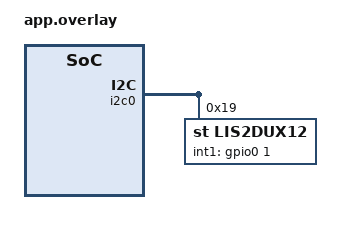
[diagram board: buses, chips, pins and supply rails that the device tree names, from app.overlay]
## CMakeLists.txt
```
# Copyright The Zephyr Project Contributors
# SPDX-License-Identifier: Apache-2.0

cmake_minimum_required(VERSION 3.28.0)
find_package(Zephyr REQUIRED HINTS $ENV{ZEPHYR_BASE})
project(lis2dux12)

target_include_directories(app PRIVATE
  ${ZEPHYR_BASE}/drivers/sensor/st/lis2dux12
  ${ZEPHYR_BASE}/drivers/sensor/st/stmemsc
)
target_sources(app PRIVATE src/main.c)
```

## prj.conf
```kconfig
# Copyright The Zephyr Project Contributors
# SPDX-License-Identifier: Apache-2.0

# The device is not backed by an emulator: only its decoder is tested
CONFIG_ZTEST=y
CONFIG_SENSOR=y
CONFIG_SENSOR_ASYNC_API=y
CONFIG_EMUL=y
```

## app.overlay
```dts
/*
 * Copyright The Zephyr Project Contributors
 *
 * SPDX-License-Identifier: Apache-2.0
 */

#include <zephyr/dt-bindings/gpio/gpio.h>
#include <zephyr/dt-bindings/sensor/lis2dux12.h>

&i2c0 {
	lis2dux12: lis2dux12@19 {
		compatible = "st,lis2dux12";
		reg = <0x19>;
		int1-gpios = <&gpio0 1 GPIO_ACTIVE_HIGH>;
		range = <LIS2DUX12_DT_FS_4G>;
		odr = <LIS2DUX12_DT_ODR_100Hz>;
		power-mode = <LIS2DUX12_OPER_MODE_LOW_POWER>;
	};
};
```

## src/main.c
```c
/*
 * Copyright The Zephyr Project Contributors
 *
 * SPDX-License-Identifier: Apache-2.0
 */

#include <zephyr/drivers/sensor.h>
#include <zephyr/dt-bindings/sensor/lis2dux12.h>
#include <zephyr/sys/byteorder.h>
#include <zephyr/ztest.h>

#include "lis2dux12.h"
#include "lis2dux12_decoder.h"

/* Sensitivity at +/-2 g in micro-g per LSB of a 16-bit sample, doubling with the range */
#define UG_PER_LSB_2G 61

/* Temperature sensitivity in LSB per degree Celsius, times 10 */
#define TEMP_LSB_PER_10C 3555

/* Allowed error of a decoded temperature, in micro-degrees Celsius */
#define TOLERANCE_UC 100

#define LAST_TS_NS   1000000000000ULL
#define MAX_READINGS 128

static const struct sensor_decoder_api *decoder = SENSOR_DECODER_DT_GET(DT_NODELABEL(lis2dux12));

static const struct sensor_chan_spec chan_xyz = {SENSOR_CHAN_ACCEL_XYZ, 0};
static const struct sensor_chan_spec chan_temp = {SENSOR_CHAN_DIE_TEMP, 0};

static const struct sensor_chan_spec accel_chans[] = {
	{SENSOR_CHAN_ACCEL_X, 0},
	{SENSOR_CHAN_ACCEL_Y, 0},
	{SENSOR_CHAN_ACCEL_Z, 0},
	{SENSOR_CHAN_ACCEL_XYZ, 0},
};

static const int8_t range_shift[] = {5, 6, 7, 8};

/* Raw values of one reading: accelerometer axes left-justified to 16 bits, or temperature */
struct raw_reading {
	int16_t v[3];
};

static struct {
	struct sensor_three_axis_data data;
	struct sensor_three_axis_sample_data extra[MAX_READINGS - 1];
} out3;

static struct {
	struct sensor_q31_data data;
	struct sensor_q31_sample_data extra[MAX_READINGS - 1];
} out1;

static struct {
	struct lis2dux12_fifo_data hdr;
	uint8_t words[MAX_READINGS][LIS2DUX12_FIFO_ITEM_LEN];
} __packed fifo;

static const uint8_t *const fifo_buf = (const uint8_t *)&fifo;

static int64_t q31_to_micro(q31_t value, int8_t shift)
{
	return ((int64_t)value * 1000000) >> (31 - shift);
}

static void check_accel(q31_t value, int8_t shift, int16_t raw, uint8_t range)
{
	int64_t expected = (int64_t)raw * UG_PER_LSB_2G * (1 << range) * SENSOR_G / 1000000;
	int64_t actual = q31_to_micro(value, shift);
	/* 0.01 % of the value, in micro-m/s^2 */
	int64_t tolerance = ((expected < 0) ? -expected : expected) / 10000 + 10;

	zassert_within(actual, expected, tolerance, "raw %d: got %lld, expected %lld", raw, actual,
		       expected);
}

static void check_temp(q31_t value, int8_t shift, int16_t raw)
{
	int64_t expected = 25000000 + (int64_t)raw * 10000000 / TEMP_LSB_PER_10C;
	int64_t actual = q31_to_micro(value, shift);

	zassert_within(actual, expected, TOLERANCE_UC, "raw %d: got %lld, expected %lld", raw,
		       actual, expected);
}

static void check_unsupported(const uint8_t *buffer, struct sensor_chan_spec chan)
{
	size_t base_size;
	size_t frame_size;
	uint16_t frame_count;
	uint32_t fit = 0;

	zassert_equal(decoder->get_size_info(chan, &base_size, &frame_size), -ENOTSUP);
	zassert_equal(decoder->get_frame_count(buffer, chan, &frame_count), -ENOTSUP);
	zassert_equal(decoder->decode(buffer, chan, &fit, 1, &out3), -ENOTSUP);
}

/*
 * Decode all accelerometer readings of a buffer with batches of max_count readings, and check
 * their values and absolute timestamps.
 */
static void check_accel_readings(const uint8_t *buffer, struct sensor_chan_spec chan,
				 uint16_t max_count, const struct raw_reading *raw, int num,
				 uint8_t range, uint64_t last_ts, uint64_t period)
{
	uint16_t frame_count;
	uint32_t fit = 0;
	int decoded = 0;
	int rc;

	zassert_ok(decoder->get_frame_count(buffer, chan, &frame_count));
	zassert_equal(frame_count, num);

	while (decoded < num) {
		rc = decoder->decode(buffer, chan, &fit, max_count, &out3);
		zassert_true(rc > 0 && rc <= max_count, "decode returned %d", rc);
		zassert_equal(out3.data.header.reading_count, rc);
		zassert_equal(out3.data.shift, range_shift[range]);

		for (int i = 0; i < rc; i++) {
			const struct sensor_three_axis_sample_data *r = &out3.data.readings[i];
			int n = decoded + i;

			zassert_equal(out3.data.header.base_timestamp_ns + r->timestamp_delta,
				      last_ts - (uint64_t)(num - 1 - n) * period, "reading %d", n);
			for (int axis = 0; axis < 3; axis++) {
				check_accel(r->values[axis], out3.data.shift, raw[n].v[axis],
					    range);
			}
		}

		decoded += rc;
	}

	zassert_equal(decoder->decode(buffer, chan, &fit, max_count, &out3), 0);
}

static void check_temp_readings(const uint8_t *buffer, uint16_t max_count,
				const struct raw_reading *raw, int num, uint64_t last_ts,
				uint64_t period)
{
	uint16_t frame_count;
	uint32_t fit = 0;
	int decoded = 0;
	int rc;

	zassert_ok(decoder->get_frame_count(buffer, chan_temp, &frame_count));
	zassert_equal(frame_count, num);

	while (decoded < num) {
		rc = decoder->decode(buffer, chan_temp, &fit, max_count, &out1);
		zassert_true(rc > 0 && rc <= max_count, "decode returned %d", rc);
		zassert_equal(out1.data.header.reading_count, rc);
		zassert_equal(out1.data.shift, 9);

		for (int i = 0; i < rc; i++) {
			const struct sensor_q31_sample_data *r = &out1.data.readings[i];
			int n = decoded + i;

			zassert_equal(out1.data.header.base_timestamp_ns + r->timestamp_delta,
				      last_ts - (uint64_t)(num - 1 - n) * period, "reading %d", n);
			check_temp(r->temperature, out1.data.shift, raw[n].v[0]);
		}

		decoded += rc;
	}

	zassert_equal(decoder->decode(buffer, chan_temp, &fit, max_count, &out1), 0);
}

static void put_sample(struct lis2dux12_rtio_data *sample, const struct raw_reading *acc)
{
	uint8_t *data = (uint8_t *)sample->acc;

	for (int i = 0; i < 3; i++) {
		sys_put_le16((uint16_t)acc->v[i], &data[i * 2]);
	}
}

ZTEST(lis2dux12_decoder, test_size_info)
{
	const uint8_t buffer[sizeof(struct lis2dux12_rtio_data)] = {0};
	size_t base_size;
	size_t frame_size;

	ARRAY_FOR_EACH(accel_chans, i) {
		zassert_ok(decoder->get_size_info(accel_chans[i], &base_size, &frame_size));
		zassert_equal(base_size, sizeof(struct sensor_three_axis_data));
		zassert_equal(frame_size, sizeof(struct sensor_three_axis_sample_data));
	}

	if (IS_ENABLED(CONFIG_LIS2DUX12_ENABLE_TEMP)) {
		zassert_ok(decoder->get_size_info(chan_temp, &base_size, &frame_size));
		zassert_equal(base_size, sizeof(struct sensor_q31_data));
		zassert_equal(frame_size, sizeof(struct sensor_q31_sample_data));
	} else {
		check_unsupported(buffer, chan_temp);
	}

	check_unsupported(buffer, (struct sensor_chan_spec){SENSOR_CHAN_GYRO_XYZ, 0});
	check_unsupported(buffer, (struct sensor_chan_spec){SENSOR_CHAN_ACCEL_XYZ, 1});
}

ZTEST(lis2dux12_decoder, test_sample_accel)
{
	static const struct raw_reading raw = {{16384, -32768, 32767}};
	struct lis2dux12_rtio_data sample;
	const uint8_t *buffer = (const uint8_t *)&sample;
	uint16_t frame_count;
	uint32_t fit;

	for (uint8_t range = LIS2DUX12_DT_FS_2G; range <= LIS2DUX12_DT_FS_16G; range++) {
		memset(&sample, 0, sizeof(sample));
		sample.header.range = range;
		sample.header.timestamp = LAST_TS_NS;
		sample.has_accel = 1;
		put_sample(&sample, &raw);

		ARRAY_FOR_EACH(accel_chans, i) {
			check_accel_readings(buffer, accel_chans[i], 1, &raw, 1, range, LAST_TS_NS,
					     0);
		}
	}

	zassert_equal(out3.data.readings[0].timestamp_delta, 0);

	fit = 0;
	zassert_equal(decoder->decode(buffer, chan_xyz, &fit, 0, &out3), 0);

	if (IS_ENABLED(CONFIG_LIS2DUX12_ENABLE_TEMP)) {
		zassert_ok(decoder->get_frame_count(buffer, chan_temp, &frame_count));
		zassert_equal(frame_count, 0);
		zassert_equal(decoder->decode(buffer, chan_temp, &fit, 1, &out1), -ENODATA);
	}

	zassert_false(decoder->has_trigger(buffer, SENSOR_TRIG_DATA_READY));
	zassert_false(decoder->has_trigger(buffer, SENSOR_TRIG_FIFO_WATERMARK));
	zassert_false(decoder->has_trigger(buffer, SENSOR_TRIG_FIFO_FULL));

	check_unsupported(buffer, (struct sensor_chan_spec){SENSOR_CHAN_GYRO_XYZ, 0});
	check_unsupported(buffer, (struct sensor_chan_spec){SENSOR_CHAN_ACCEL_XYZ, 1});
}

ZTEST(lis2dux12_decoder, test_sample_temp)
{
	static const struct raw_reading raw_acc = {{-8197, 0, 8197}};
	static const struct raw_reading raw_temp[] = {{{3555}}, {{-8888}}, {{32767}}};
	struct lis2dux12_rtio_data sample;
	const uint8_t *buffer = (const uint8_t *)&sample;

	Z_TEST_SKIP_IFNDEF(CONFIG_LIS2DUX12_ENABLE_TEMP);

	/* Read with SENSOR_CHAN_ALL */
	ARRAY_FOR_EACH(raw_temp, i) {
		memset(&sample, 0, sizeof(sample));
		sample.header.range = LIS2DUX12_DT_FS_8G;
		sample.header.timestamp = 123456789ULL;
		sample.has_accel = 1;
		sample.has_temp = 1;
		put_sample(&sample, &raw_acc);
		sys_put_le16((uint16_t)raw_temp[i].v[0], (uint8_t *)&sample.temp);

		check_temp_readings(buffer, 1, &raw_temp[i], 1, 123456789ULL, 0);
		check_accel_readings(buffer, chan_xyz, 1, &raw_acc, 1, LIS2DUX12_DT_FS_8G,
				     123456789ULL, 0);
	}
}

ZTEST(lis2dux12_decoder, test_sample_no_data)
{
	struct lis2dux12_rtio_data sample;
	const uint8_t *buffer = (const uint8_t *)&sample;
	uint16_t frame_count;
	uint32_t fit = 0;

	/* Buffer completed without data, for SENSOR_STREAM_DATA_NOP or _DROP */
	memset(&sample, 0, sizeof(sample));
	sample.header.timestamp = LAST_TS_NS;

	ARRAY_FOR_EACH(accel_chans, i) {
		zassert_ok(decoder->get_frame_count(buffer, accel_chans[i], &frame_count));
		zassert_equal(frame_count, 0);
		zassert_equal(decoder->decode(buffer, accel_chans[i], &fit, 1, &out3), -ENODATA);
	}
}

ZTEST(lis2dux12_decoder, test_drdy)
{
	static const struct raw_reading raw = {{100, -100, 4096}};
	struct lis2dux12_rtio_data sample;
	const uint8_t *buffer = (const uint8_t *)&sample;

	/* Data ready stream buffer: STATUS register and OUTX_L to OUTZ_H */
	memset(&sample, 0, sizeof(sample));
	sample.header.range = LIS2DUX12_DT_FS_16G;
	sample.header.timestamp = LAST_TS_NS;
	sample.header.int_status = 0x01;
	sample.has_accel = 1;
	put_sample(&sample, &raw);

	check_accel_readings(buffer, chan_xyz, 1, &raw, 1, LIS2DUX12_DT_FS_16G, LAST_TS_NS, 0);

	zassert_equal(decoder->has_trigger(buffer, SENSOR_TRIG_DATA_READY),
		      IS_ENABLED(CONFIG_LIS2DUX12_STREAM));
	zassert_false(decoder->has_trigger(buffer, SENSOR_TRIG_FIFO_WATERMARK));
	zassert_false(decoder->has_trigger(buffer, SENSOR_TRIG_FIFO_FULL));
}

static void fifo_init(uint8_t fifo_mode_sel, uint8_t odr, uint8_t bdr, uint8_t range,
		      uint16_t num_words, uint8_t int_status)
{
	memset(&fifo, 0, sizeof(fifo));
	fifo.hdr.header.is_fifo = 1;
	fifo.hdr.header.range = range;
	fifo.hdr.header.timestamp = LAST_TS_NS;
	fifo.hdr.header.int_status = int_status;
	fifo.hdr.accel_odr = odr;
	fifo.hdr.accel_batch_odr = bdr;
	fifo.hdr.fifo_mode_sel = fifo_mode_sel;
	fifo.hdr.fifo_count = num_words;
}

static void put_tag(uint8_t *word, uint8_t tag)
{
	/* The low bits hold the tag counter and parity */
	word[0] = (uint8_t)(tag << 3) | 0x5U;
}

/*
 * 12-bit accelerometer and 12-bit temperature, returned left-justified to 16 bits. Byte layout
 * of the data: X[7:0], Y[3:0] X[11:8], Y[11:4], Z[7:0], T[3:0] Z[11:8], T[11:4].
 */
static void put_xl12_temp(uint8_t *word, const int16_t xl[3], int16_t t, struct raw_reading *acc,
			  struct raw_reading *temp)
{
	const uint16_t x = (uint16_t)xl[0];
	const uint16_t y = (uint16_t)xl[1];
	const uint16_t z = (uint16_t)xl[2];
	const uint16_t tu = (uint16_t)t;

	put_tag(word, LIS2DUXXX_XL_TEMP_TAG);
	word[1] = (uint8_t)x;
	word[2] = (uint8_t)(((x >> 8) & 0x0FU) | ((y & 0x0FU) << 4));
	word[3] = (uint8_t)(y >> 4);
	word[4] = (uint8_t)z;
	word[5] = (uint8_t)(((z >> 8) & 0x0FU) | ((tu & 0x0FU) << 4));
	word[6] = (uint8_t)(tu >> 4);

	for (int i = 0; i < 3; i++) {
		acc->v[i] = (int16_t)(xl[i] * 16);
	}
	temp->v[0] = (int16_t)(t * 16);
}

static void put_xl16(uint8_t *word, const struct raw_reading *acc)
{
	put_tag(word, LIS2DUXXX_XL_TEMP_TAG);
	for (int i = 0; i < 3; i++) {
		sys_put_le16((uint16_t)acc->v[i], &word[1 + i * 2]);
	}
}

/* Two 8-bit accelerometer samples, returned left-justified to 16 bits */
static void put_xl8_2x(uint8_t *word, const int8_t xl[6], struct raw_reading acc[2])
{
	put_tag(word, LIS2DUXXX_XL_ONLY_2X_TAG);
	for (int i = 0; i < 6; i++) {
		word[1 + i] = (uint8_t)xl[i];
		acc[i / 3].v[i % 3] = (int16_t)(xl[i] * 256);
	}
}

ZTEST(lis2dux12_decoder, test_fifo_xl12_temp)
{
	static const int16_t xl[3][3] = {{100, -200, 2047}, {-2048, 0, 1}, {5, 6, -7}};
	static const int16_t t[3] = {222, -100, 0};
	struct raw_reading acc[3];
	struct raw_reading temp[3];
	/* 100 Hz batched at ODR / 2 */
	const uint64_t period = 20000000ULL;

	Z_TEST_SKIP_IFNDEF(CONFIG_LIS2DUX12_STREAM);

	fifo_init(0, LIS2DUX12_DT_ODR_100Hz, LIS2DUX12_DT_BDR_XL_ODR_DIV_2, LIS2DUX12_DT_FS_2G, 5,
		  0x80);
	put_xl12_temp(fifo.words[0], xl[0], t[0], &acc[0], &temp[0]);
	put_tag(fifo.words[1], LIS2DUXXX_TIMESTAMP_TAG);
	put_xl12_temp(fifo.words[2], xl[1], t[1], &acc[1], &temp[1]);
	put_tag(fifo.words[3], LIS2DUXXX_STEP_COUNTER_TAG);
	put_xl12_temp(fifo.words[4], xl[2], t[2], &acc[2], &temp[2]);

	ARRAY_FOR_EACH(accel_chans, i) {
		check_accel_readings(fifo_buf, accel_chans[i], 1, acc, 3, LIS2DUX12_DT_FS_2G,
				     LAST_TS_NS, period);
	}
	check_accel_readings(fifo_buf, chan_xyz, 3, acc, 3, LIS2DUX12_DT_FS_2G, LAST_TS_NS, period);

	if (IS_ENABLED(CONFIG_LIS2DUX12_ENABLE_TEMP)) {
		check_temp_readings(fifo_buf, 1, temp, 3, LAST_TS_NS, period);
		check_temp_readings(fifo_buf, 3, temp, 3, LAST_TS_NS, period);
	} else {
		check_unsupported(fifo_buf, chan_temp);
	}

	zassert_true(decoder->has_trigger(fifo_buf, SENSOR_TRIG_FIFO_WATERMARK));
	zassert_false(decoder->has_trigger(fifo_buf, SENSOR_TRIG_FIFO_FULL));
	zassert_false(decoder->has_trigger(fifo_buf, SENSOR_TRIG_DATA_READY));

	check_unsupported(fifo_buf, (struct sensor_chan_spec){SENSOR_CHAN_GYRO_XYZ, 0});
	check_unsupported(fifo_buf, (struct sensor_chan_spec){SENSOR_CHAN_ACCEL_XYZ, 1});
}

ZTEST(lis2dux12_decoder, test_fifo_xl16)
{
	static const struct raw_reading acc[2] = {{{32767, -32768, 1000}}, {{-1, 2, -3}}};
	/* 800 Hz batched at ODR */
	const uint64_t period = 1250000ULL;
	uint16_t frame_count;
	uint32_t fit = 0;

	Z_TEST_SKIP_IFNDEF(CONFIG_LIS2DUX12_STREAM);

	fifo_init(1, LIS2DUX12_DT_ODR_800Hz, LIS2DUX12_DT_BDR_XL_ODR, LIS2DUX12_DT_FS_16G, 3, 0x40);
	put_xl16(fifo.words[0], &acc[0]);
	put_tag(fifo.words[1], LIS2DUXXX_TIMESTAMP_TAG);
	put_xl16(fifo.words[2], &acc[1]);

	check_accel_readings(fifo_buf, chan_xyz, 1, acc, 2, LIS2DUX12_DT_FS_16G, LAST_TS_NS,
			     period);
	check_accel_readings(fifo_buf, chan_xyz, 2, acc, 2, LIS2DUX12_DT_FS_16G, LAST_TS_NS,
			     period);

	if (IS_ENABLED(CONFIG_LIS2DUX12_ENABLE_TEMP)) {
		/* No temperature in this FIFO mode */
		zassert_ok(decoder->get_frame_count(fifo_buf, chan_temp, &frame_count));
		zassert_equal(frame_count, 0);
		zassert_equal(decoder->decode(fifo_buf, chan_temp, &fit, 2, &out1), -ENODATA);
	}

	zassert_false(decoder->has_trigger(fifo_buf, SENSOR_TRIG_FIFO_WATERMARK));
	zassert_true(decoder->has_trigger(fifo_buf, SENSOR_TRIG_FIFO_FULL));
}

ZTEST(lis2dux12_decoder, test_fifo_xl8_2x)
{
	static const int8_t xl[2][6] = {
		{1, -1, 127, -128, 64, -64},
		{10, 20, 30, -10, -20, -30},
	};
	struct raw_reading acc[5];
	/* 50 Hz batched at ODR */
	const uint64_t period = 20000000ULL;
	uint16_t frame_count;
	uint32_t fit = 0;

	Z_TEST_SKIP_IFNDEF(CONFIG_LIS2DUX12_STREAM);

	fifo_init(2, LIS2DUX12_DT_ODR_50Hz, LIS2DUX12_DT_BDR_XL_ODR, LIS2DUX12_DT_FS_8G, 4, 0x80);
	put_xl8_2x(fifo.words[0], xl[0], &acc[0]);
	put_tag(fifo.words[1], LIS2DUXXX_TIMESTAMP_TAG);
	/* XL_TEMP words hold a 16-bit accelerometer sample without temperature in this mode */
	acc[2] = (struct raw_reading){{-12345, 23456, -32768}};
	put_xl16(fifo.words[2], &acc[2]);
	put_xl8_2x(fifo.words[3], xl[1], &acc[3]);

	/* Batches of 1, 2 and 4 readings split the two samples of a word */
	check_accel_readings(fifo_buf, chan_xyz, 1, acc, 5, LIS2DUX12_DT_FS_8G, LAST_TS_NS, period);
	check_accel_readings(fifo_buf, chan_xyz, 2, acc, 5, LIS2DUX12_DT_FS_8G, LAST_TS_NS, period);
	check_accel_readings(fifo_buf, chan_xyz, 4, acc, 5, LIS2DUX12_DT_FS_8G, LAST_TS_NS, period);
	check_accel_readings(fifo_buf, chan_xyz, 5, acc, 5, LIS2DUX12_DT_FS_8G, LAST_TS_NS, period);

	if (IS_ENABLED(CONFIG_LIS2DUX12_ENABLE_TEMP)) {
		zassert_ok(decoder->get_frame_count(fifo_buf, chan_temp, &frame_count));
		zassert_equal(frame_count, 0);
		zassert_equal(decoder->decode(fifo_buf, chan_temp, &fit, 2, &out1), -ENODATA);
	}
}

ZTEST(lis2dux12_decoder, test_fifo_long_period)
{
	static const struct raw_reading acc[3] = {{{1, 2, 3}}, {{4, 5, 6}}, {{7, 8, 9}}};
	/* 1 Hz batched at ODR / 64 */
	const uint64_t period = 64000000000ULL;

	Z_TEST_SKIP_IFNDEF(CONFIG_LIS2DUX12_STREAM);

	fifo_init(1, LIS2DUX12_DT_ODR_1Hz_ULP, LIS2DUX12_DT_BDR_XL_ODR_DIV_64, LIS2DUX12_DT_FS_2G,
		  3, 0x80);
	for (int i = 0; i < 3; i++) {
		put_xl16(fifo.words[i], &acc[i]);
	}

	check_accel_readings(fifo_buf, chan_xyz, 1, acc, 3, LIS2DUX12_DT_FS_2G, LAST_TS_NS, period);
	check_accel_readings(fifo_buf, chan_xyz, 3, acc, 3, LIS2DUX12_DT_FS_2G, LAST_TS_NS, period);
}

ZTEST(lis2dux12_decoder, test_fifo_full)
{
	static struct raw_reading acc[MAX_READINGS];
	/* 12.5 Hz batched at ODR / 4 */
	const uint64_t period = 320000000ULL;

	Z_TEST_SKIP_IFNDEF(CONFIG_LIS2DUX12_STREAM);

	/* The FIFO holds 128 words */
	fifo_init(1, LIS2DUX12_DT_ODR_12Hz5, LIS2DUX12_DT_BDR_XL_ODR_DIV_4, LIS2DUX12_DT_FS_4G,
		  MAX_READINGS, 0x40);
	for (int i = 0; i < MAX_READINGS; i++) {
		acc[i] = (struct raw_reading){{i * 100, -i * 100, i}};
		put_xl16(fifo.words[i], &acc[i]);
	}

	/*
	 * The readings span 40.64 s: each decode call returns the readings within UINT32_MAX ns of
	 * its first one, 14 at this period.
	 */
	check_accel_readings(fifo_buf, chan_xyz, MAX_READINGS, acc, MAX_READINGS,
			     LIS2DUX12_DT_FS_4G, LAST_TS_NS, period);
}

ZTEST(lis2dux12_decoder, test_fifo_empty)
{
	uint16_t frame_count;
	uint32_t fit = 0;

	Z_TEST_SKIP_IFNDEF(CONFIG_LIS2DUX12_STREAM);

	/* Buffer completed without data, for SENSOR_STREAM_DATA_NOP or _DROP */
	fifo_init(0, 0, 0, 0, 0, 0x80);

	zassert_ok(decoder->get_frame_count(fifo_buf, chan_xyz, &frame_count));
	zassert_equal(frame_count, 0);
	zassert_equal(decoder->decode(fifo_buf, chan_xyz, &fit, 1, &out3), 0);

	if (IS_ENABLED(CONFIG_LIS2DUX12_ENABLE_TEMP)) {
		zassert_ok(decoder->get_frame_count(fifo_buf, chan_temp, &frame_count));
		zassert_equal(frame_count, 0);
		zassert_equal(decoder->decode(fifo_buf, chan_temp, &fit, 1, &out1), 0);
	}

	zassert_true(decoder->has_trigger(fifo_buf, SENSOR_TRIG_FIFO_WATERMARK));
}

ZTEST(lis2dux12_decoder, test_fifo_invalid_odr)
{
	static const struct raw_reading acc = {{1, 2, 3}};
	uint16_t frame_count;
	uint32_t fit = 0;

	Z_TEST_SKIP_IFNDEF(CONFIG_LIS2DUX12_STREAM);

	fifo_init(1, LIS2DUX12_DT_ODR_END, LIS2DUX12_DT_BDR_XL_ODR, LIS2DUX12_DT_FS_2G, 1, 0x80);
	put_xl16(fifo.words[0], &acc);

	zassert_equal(decoder->get_frame_count(fifo_buf, chan_xyz, &frame_count), -EINVAL);
	zassert_equal(decoder->decode(fifo_buf, chan_xyz, &fit, 1, &out3), -EINVAL);
}

ZTEST_SUITE(lis2dux12_decoder, NULL, NULL, NULL, NULL, NULL);
```
